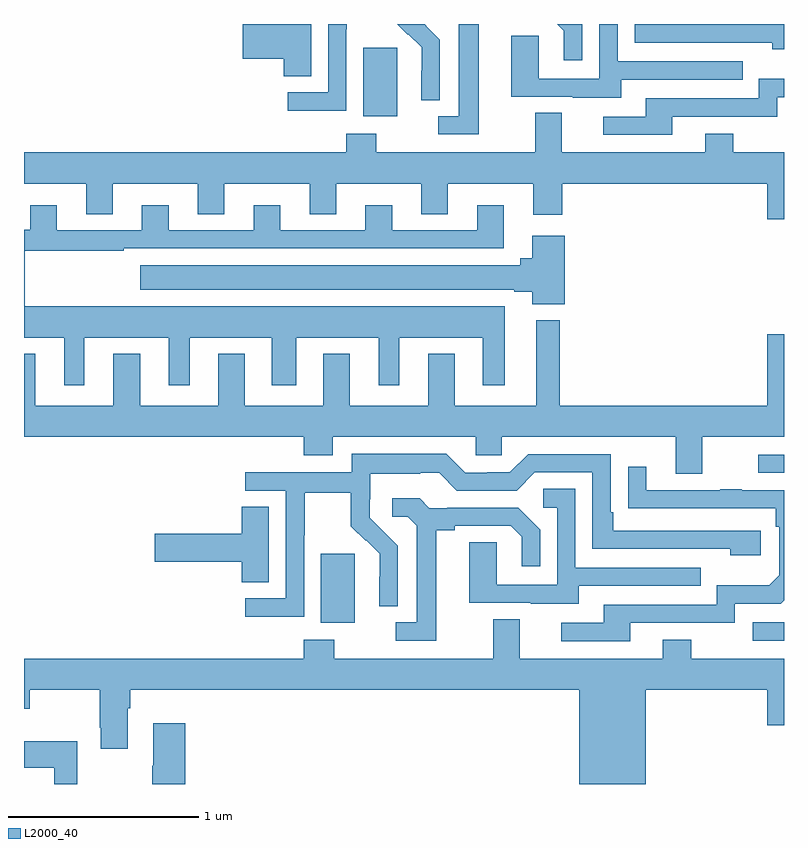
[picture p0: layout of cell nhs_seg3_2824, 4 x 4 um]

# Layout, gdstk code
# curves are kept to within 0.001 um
import gdstk
lib = gdstk.Library(unit=1e-6, precision=1e-09)
def R(c, l, rs):  # rectangles x0, y0, x1, y1
    for r in rs: c.add(gdstk.rectangle(r[:2], r[2:], *l))
def P(c, l, *ps):  # polygons
    for p in ps: c.add(gdstk.Polygon(p, *l))
L2000_40 = (2000, 40)

nhs_seg3_2824 = lib.new_cell('nhs_seg3_2824')
R(nhs_seg3_2824, L2000_40, [(260.835,721.155,261,721.251), (258.563,721.25,258.742,721.611), (260.865,722.037,261,722.133), (258.785,723.914,258.964,724.275)])
P(nhs_seg3_2824, L2000_40, [(258.696,724.372),(258.699,724.372),(258.699,724.4),(258.6,724.4),(258.6,724.041),(258.387,724.041),(258.387,723.943),(258.696,723.943)],
  [(259.188,724.318),(259.115,724.391),(259.116,724.392),(259.108,724.4),(258.964,724.4),(259.02,724.344),(259.023,724.347),(259.094,724.277),(259.094,724.154),(259.092,724.154),(259.092,724),(259.188,724)],
  [(259.393,724.4),(259.289,724.4),(259.289,723.915),(259.179,723.915),(259.179,723.819),(259.393,723.819)],
  [(259.938,724.4),(259.806,724.4),(259.841,724.365),(259.841,724.209),(259.938,724.209)],
  [(261,724.398),(260.323,724.398),(260.323,724.4),(260.214,724.4),(260.214,724.302),(260.939,724.302),(260.939,724.268),(261,724.268)],
  [(260.143,724.107),(260.783,724.107),(260.783,724.203),(260.124,724.203),(260.124,724.4),(260.028,724.4),(260.028,724.113),(259.71,724.113),(259.71,724.337),(259.565,724.337),(259.565,724.017),(259.889,724.017),(259.889,724.013),(260.143,724.013)],
  [(258.511,724.4),(258.15,724.4),(258.15,724.217),(258.368,724.217),(258.368,724.126),(258.511,724.126)],
  [(260.413,723.912),(260.964,723.912),(260.964,724.014),(261,724.014),(261,724.111),(260.868,724.111),(260.868,724.008),(260.273,724.008),(260.273,723.912),(260.049,723.912),(260.049,723.816),(260.413,723.816)],
  [(259.091,723.4),(259.231,723.4),(259.231,723.56),(259.679,723.56),(259.679,723.396),(259.832,723.396),(259.832,723.56),(260.912,723.56),(260.912,723.372),(261,723.372),(261,723.724),(260.733,723.724),(260.733,723.823),(260.585,723.823),(260.585,723.724),(259.831,723.724),(259.831,723.932),(259.691,723.932),(259.691,723.724),(258.855,723.724),(258.855,723.823),(258.695,723.823),(258.695,723.724),(257,723.724),(257,723.56),(257.327,723.56),(257.327,723.4),(257.467,723.4),(257.467,723.56),(257.915,723.56),(257.915,723.4),(258.055,723.4),(258.055,723.56),(258.503,723.56),(258.503,723.4),(258.643,723.4),(258.643,723.56),(259.091,723.56)],
  [(257.317,722.75),(257.762,722.75),(257.762,722.499),(257.872,722.499),(257.872,722.75),(258.305,722.75),(258.305,722.499),(258.433,722.499),(258.433,722.75),(258.866,722.75),(258.866,722.499),(258.976,722.499),(258.976,722.75),(259.415,722.75),(259.415,722.499),(259.531,722.499),(259.531,722.914),(257.005,722.914),(257.005,723.207),(257.525,723.207),(257.525,723.219),(259.525,723.219),(259.525,723.445),(259.385,723.445),(259.385,723.315),(258.937,723.315),(258.937,723.445),(258.797,723.445),(258.797,723.315),(258.349,723.315),(258.349,723.445),(258.209,723.445),(258.209,723.315),(257.761,723.315),(257.761,723.445),(257.621,723.445),(257.621,723.315),(257.173,723.315),(257.173,723.445),(257.033,723.445),(257.033,723.316),(257,723.316),(257,722.75),(257.213,722.75),(257.213,722.499),(257.317,722.499)],
  [(259.847,723.286),(259.676,723.286),(259.676,723.166),(259.613,723.166),(259.613,723.13),(257.613,723.13),(257.613,723.002),(259.58,723.002),(259.58,722.99),(259.676,722.99),(259.676,722.926),(259.847,722.926)],
  [(260.569,722.228),(261,722.228),(261,722.767),(260.912,722.767),(260.912,722.392),(259.819,722.392),(259.819,722.841),(259.697,722.841),(259.697,722.392),(259.267,722.392),(259.267,722.665),(259.127,722.665),(259.127,722.392),(258.715,722.392),(258.715,722.665),(258.575,722.665),(258.575,722.392),(258.163,722.392),(258.163,722.665),(258.023,722.665),(258.023,722.392),(257.611,722.392),(257.611,722.665),(257.471,722.665),(257.471,722.392),(257.059,722.392),(257.059,722.665),(257,722.665),(257,722.228),(258.473,722.228),(258.473,722.129),(258.625,722.129),(258.625,722.228),(259.377,722.228),(259.377,722.13),(259.515,722.13),(259.515,722.228),(260.429,722.228),(260.429,722.034),(260.569,722.034)],
  [(258.474,721.708),(258.477,721.708),(258.477,721.932),(258.721,721.932),(258.721,721.757),(258.798,721.68),(258.801,721.683),(258.872,721.613),(258.872,721.49),(258.87,721.49),(258.87,721.336),(258.966,721.336),(258.966,721.654),(258.82,721.802),(258.82,721.899),(258.822,721.899),(258.822,722.033),(259.085,722.033),(259.085,722.037),(259.185,722.037),(259.278,721.944),(259.593,721.944),(259.689,722.04),(259.992,722.04),(259.992,721.638),(260.717,721.638),(260.717,721.604),(260.878,721.604),(260.878,721.734),(260.101,721.734),(260.101,721.831),(260.088,721.831),(260.088,722.136),(259.653,722.136),(259.557,722.04),(259.439,722.04),(259.439,722.037),(259.323,722.037),(259.223,722.137),(258.726,722.137),(258.726,722.04),(258.165,722.04),(258.165,721.944),(258.378,721.944),(258.378,721.377),(258.165,721.377),(258.165,721.279),(258.474,721.279)],
  [(260.191,721.248),(260.742,721.248),(260.742,721.35),(260.982,721.35),(261,721.368),(261,721.947),(260.777,721.947),(260.777,721.952),(260.665,721.952),(260.665,721.947),(260.275,721.947),(260.275,722.071),(260.179,722.071),(260.179,721.852),(260.956,721.851),(260.956,721.754),(260.976,721.754),(260.976,721.5),(260.923,721.447),(260.646,721.447),(260.646,721.344),(260.051,721.344),(260.051,721.248),(259.827,721.248),(259.827,721.152),(260.191,721.152)],
  [(259.921,721.443),(260.561,721.443),(260.561,721.539),(259.902,721.539),(259.902,721.955),(259.734,721.955),(259.734,721.854),(259.806,721.854),(259.806,721.449),(259.488,721.449),(259.488,721.673),(259.343,721.673),(259.343,721.353),(259.667,721.353),(259.667,721.349),(259.921,721.349)],
  [(259.171,721.736),(259.267,721.736),(259.267,721.758),(259.562,721.758),(259.619,721.701),(259.619,721.545),(259.716,721.545),(259.716,721.738),(259.6,721.854),(259.228,721.854),(259.228,721.851),(259.134,721.851),(259.082,721.903),(258.939,721.903),(258.939,721.806),(259.02,721.806),(259.067,721.759),(259.067,721.251),(258.957,721.251),(258.957,721.155),(259.171,721.155)],
  [(258.289,721.859),(258.146,721.859),(258.146,721.718),(257.688,721.718),(257.688,721.571),(258.146,721.571),(258.146,721.462),(258.289,721.462)],
  [(260.272,720.896),(260.912,720.896),(260.912,720.708),(261,720.708),(261,721.06),(260.511,721.06),(260.511,721.159),(260.363,721.159),(260.363,721.06),(259.609,721.06),(259.609,721.268),(259.469,721.268),(259.469,721.06),(258.633,721.06),(258.633,721.159),(258.473,721.159),(258.473,721.06),(257,721.06),(257,720.797),(257.031,720.797),(257.031,720.896),(257.398,720.896),(257.398,720.697),(257.405,720.697),(257.405,720.585),(257.545,720.585),(257.545,720.8),(257.558,720.8),(257.558,720.896),(259.922,720.896),(259.922,720.4),(260.272,720.4)],
  [(257.849,720.721),(257.681,720.721),(257.681,720.497),(257.674,720.497),(257.674,720.4),(257.849,720.4)],
  [(257.281,720.625),(257,720.625),(257,720.485),(257.16,720.485),(257.16,720.4),(257.281,720.4)])

lib.write_gds('nhs_seg3_2824.gds')
